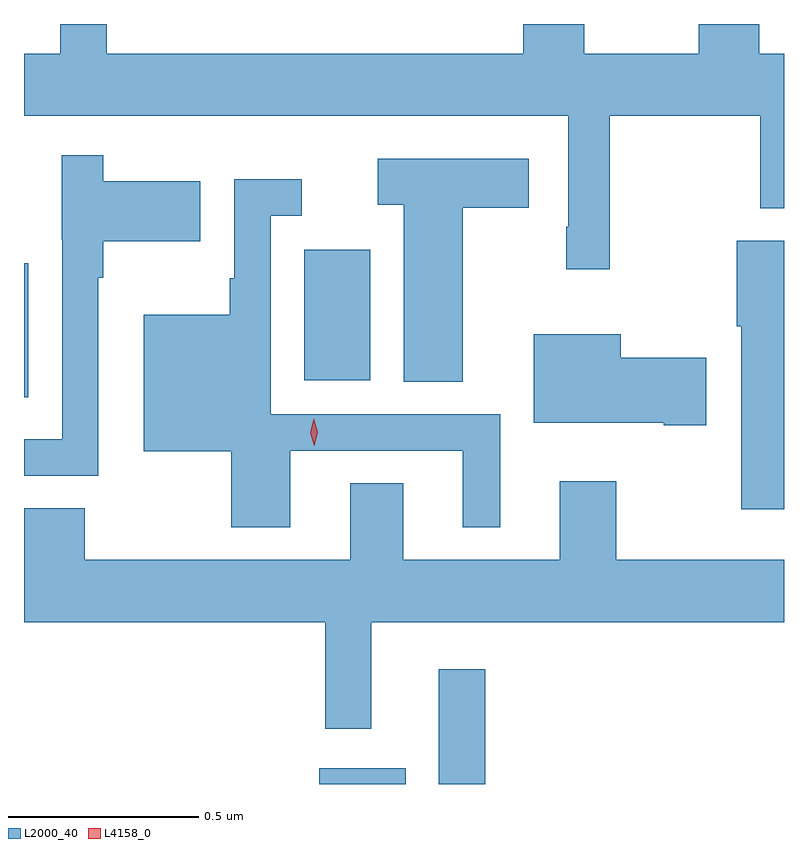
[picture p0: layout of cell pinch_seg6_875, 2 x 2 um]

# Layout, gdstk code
import gdstk
lib = gdstk.Library(unit=1e-6, precision=1e-09)
def R(c, l, rs):  # rectangles x0, y0, x1, y1
    for r in rs: c.add(gdstk.rectangle(r[:2], r[2:], *l))
def P(c, l, *ps):  # polygons
    for p in ps: c.add(gdstk.Polygon(p, *l))
L2000_40 = (2000, 40)
L4158_0 = (4158, 0)

pinch_seg6_875 = lib.new_cell('pinch_seg6_875')
R(pinch_seg6_875, L2000_40, [(171.134,965.558,171.361,965.599), (171.449,965.558,171.571,965.86), (170.357,966.576,170.368,966.929), (171.095,966.62,171.268,966.964)])
P(pinch_seg6_875, L2000_40, [(171.898,967.316),(172.294,967.316),(172.294,967.073),(172.357,967.073),(172.357,967.48),(172.292,967.48),(172.292,967.558),(172.132,967.558),(172.132,967.48),(171.831,967.48),(171.831,967.558),(171.671,967.558),(171.671,967.48),(170.575,967.48),(170.575,967.558),(170.453,967.558),(170.453,967.48),(170.357,967.48),(170.357,967.316),(171.789,967.316),(171.789,967.024),(171.784,967.024),(171.784,966.912),(171.898,966.912)],
  [(170.553,966.89),(170.566,966.89),(170.566,966.986),(170.821,966.986),(170.821,967.144),(170.566,967.144),(170.566,967.213),(170.456,967.213),(170.456,966.99),(170.457,966.99),(170.457,966.465),(170.357,966.465),(170.357,966.369),(170.553,966.369)],
  [(171.511,967.075),(171.685,967.075),(171.685,967.204),(171.288,967.204),(171.288,967.082),(171.356,967.082),(171.356,966.616),(171.511,966.616)],
  [(171.058,966.435),(171.512,966.435),(171.512,966.234),(171.61,966.234),(171.61,966.531),(171.006,966.531),(171.006,967.053),(171.088,967.053),(171.088,967.15),(170.91,967.15),(170.91,966.889),(170.898,966.889),(170.898,966.793),(170.672,966.793),(170.672,966.434),(170.902,966.434),(170.902,966.234),(171.058,966.234)],
  [(172.357,966.988),(172.232,966.988),(172.232,966.763),(172.244,966.763),(172.244,966.281),(172.357,966.281)],
  [(172.153,966.68),(171.928,966.68),(171.928,966.742),(171.698,966.742),(171.698,966.509),(172.04,966.509),(172.04,966.502),(172.153,966.502)],
  [(171.271,965.984),(172.357,965.984),(172.357,966.148),(171.915,966.148),(171.915,966.355),(171.767,966.355),(171.767,966.148),(171.355,966.148),(171.355,966.35),(171.215,966.35),(171.215,966.148),(170.517,966.148),(170.517,966.284),(170.357,966.284),(170.357,965.984),(171.15,965.984),(171.15,965.703),(171.271,965.703)])
P(pinch_seg6_875, L4158_0, [(171.121,966.448),(171.121,966.448),(171.11,966.483),(171.119,966.519),(171.119,966.519),(171.119,966.519),(171.13,966.484),(171.121,966.448)])

lib.write_gds('pinch_seg6_875.gds')
